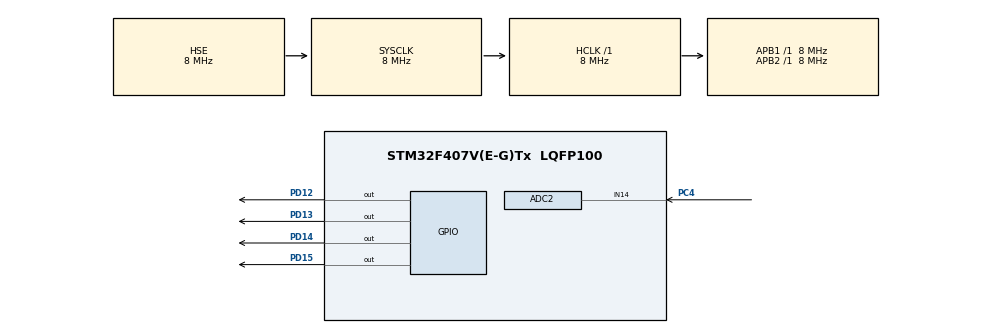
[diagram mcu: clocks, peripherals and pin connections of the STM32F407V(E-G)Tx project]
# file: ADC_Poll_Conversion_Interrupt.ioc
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ADC2.Channel-0\#ChannelRegularConversion=ADC_CHANNEL_14
ADC2.ContinuousConvMode=ENABLE
ADC2.NbrOfConversionFlag=1
ADC2.Rank-0\#ChannelRegularConversion=1
ADC2.SamplingTime-0\#ChannelRegularConversion=ADC_SAMPLETIME_480CYCLES
Mcu.Family=STM32F4
Mcu.Name=STM32F407V(E-G)Tx
Mcu.Package=LQFP100
NVIC.ADC_IRQn=true\:0\:0\:false\:false\:true\:true\:true\:true
NVIC.PriorityGroup=NVIC_PRIORITYGROUP_4
PA13.Mode=Serial_Wire
PA13.Signal=SYS_JTMS-SWDIO
PA14.Mode=Serial_Wire
PA14.Signal=SYS_JTCK-SWCLK
PC4.Signal=ADCx_IN14
PD12.Signal=GPIO_Output
PD13.Signal=GPIO_Output
PD14.Signal=GPIO_Output
PD15.Signal=GPIO_Output
PH0-OSC_IN.Mode=HSE-External-Oscillator
PH0-OSC_IN.Signal=RCC_OSC_IN
PH1-OSC_OUT.Mode=HSE-External-Oscillator
PH1-OSC_OUT.Signal=RCC_OSC_OUT
ProjectManager.HeapSize=0x200
ProjectManager.StackSize=0x400
ProjectManager.TargetToolchain=STM32CubeIDE
RCC.AHBFreq_Value=8000000
RCC.APB1Freq_Value=8000000
RCC.APB1TimFreq_Value=8000000
RCC.APB2Freq_Value=8000000
RCC.APB2TimFreq_Value=8000000
RCC.CortexFreq_Value=8000000
RCC.HCLKFreq_Value=8000000
RCC.HSE_VALUE=8000000
RCC.HSI_VALUE=16000000
RCC.LSE_VALUE=32768
RCC.SYSCLKFreq_VALUE=8000000
RCC.SYSCLKSource=RCC_SYSCLKSOURCE_HSE
RCC.VCOOutputFreq_Value=192000000
SH.ADCx_IN14.0=ADC2_IN14,IN14
board=custom

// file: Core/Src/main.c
/* USER CODE BEGIN Header */
/**
  ******************************************************************************
  * @file           : main.c
  * @brief          : Main program body
  ******************************************************************************
  * @attention
  *
  * Copyright (c) 2024 STMicroelectronics.
  * All rights reserved.
  *
  * This software is licensed under terms that can be found in the LICENSE file
  * in the root directory of this software component.
  * If no LICENSE file comes with this software, it is provided AS-IS.
  *
  ******************************************************************************
  */
/* USER CODE END Header */
#include "main.h"

ADC_HandleTypeDef hadc2;

void SystemClock_Config(void);
static void MX_GPIO_Init(void);
static void MX_ADC2_Init(void);

/* USER CODE BEGIN 0 */
int adc_value = 0;
float adc_voltage = 0;
void HAL_ADC_ConvCpltCallback(ADC_HandleTypeDef *hadc){
	adc_value = HAL_ADC_GetValue(&hadc2);
	adc_voltage = 3.3*adc_value/4095;
	//led kontrol aşaması
	if(adc_value < 1024){
		HAL_GPIO_WritePin(GPIOD, GPIO_PIN_12, GPIO_PIN_SET);	//PD12 yeşil yandı
		HAL_GPIO_WritePin(GPIOD, GPIO_PIN_15, GPIO_PIN_RESET); 	//PD15 mavi söndü
		HAL_GPIO_WritePin(GPIOD, GPIO_PIN_14, GPIO_PIN_RESET); 	//PD14 kırmızı söndü
		HAL_GPIO_WritePin(GPIOD, GPIO_PIN_13, GPIO_PIN_RESET); 	//PD13 turuncu söndü
	}
	if(adc_value > 1024 && adc_value < 2048){
		HAL_GPIO_WritePin(GPIOD, GPIO_PIN_13, GPIO_PIN_SET); 	//PD13 turuncu yandı
		HAL_GPIO_WritePin(GPIOD, GPIO_PIN_12, GPIO_PIN_RESET); 	//PD12 yeşil söndü
		HAL_GPIO_WritePin(GPIOD, GPIO_PIN_15, GPIO_PIN_RESET); 	//PD15 mavi söndü
		HAL_GPIO_WritePin(GPIOD, GPIO_PIN_14, GPIO_PIN_RESET); 	//PD14 kırmızı söndü
	}
	if(adc_value >2048 && adc_value < 3072){
		HAL_GPIO_WritePin(GPIOD, GPIO_PIN_14, GPIO_PIN_SET); 	//PD14 kırmızı yandı
		HAL_GPIO_WritePin(GPIOD, GPIO_PIN_12, GPIO_PIN_RESET); 	//PD12 yeşil söndü
		HAL_GPIO_WritePin(GPIOD, GPIO_PIN_15, GPIO_PIN_RESET); 	//PD15 mavi söndü
		HAL_GPIO_WritePin(GPIOD, GPIO_PIN_13, GPIO_PIN_RESET); 	//PD13 turuncu söndü
	}
	else{
		HAL_GPIO_WritePin(GPIOD, GPIO_PIN_15, GPIO_PIN_SET); 	//PD15 mavi yandı
		HAL_GPIO_WritePin(GPIOD, GPIO_PIN_12, GPIO_PIN_RESET); 	//PD12 yeşil söndü
		HAL_GPIO_WritePin(GPIOD, GPIO_PIN_14, GPIO_PIN_RESET); 	//PD14 kırmızı söndü
		HAL_GPIO_WritePin(GPIOD, GPIO_PIN_13, GPIO_PIN_RESET); 	//PD13 turuncu söndü
	}
}
/* USER CODE END 0 */

int main(void)
{

  /* MCU Configuration--------------------------------------------------------*/

  /* Reset of all peripherals, Initializes the Flash interface and the Systick. */
  HAL_Init();

  /* Configure the system clock */
  SystemClock_Config();

  /* Initialize all configured peripherals */
  MX_GPIO_Init();
  MX_ADC2_Init();
  /* USER CODE BEGIN 2 */
HAL_ADC_Start_IT(&hadc2);
  /* USER CODE END 2 */

  /* Infinite loop */
  while (1)
  {

  }
}

void SystemClock_Config(void)
{
  RCC_OscInitTypeDef RCC_OscInitStruct = {0};
  RCC_ClkInitTypeDef RCC_ClkInitStruct = {0};

  /** Configure the main internal regulator output voltage
  */
  __HAL_RCC_PWR_CLK_ENABLE();
  __HAL_PWR_VOLTAGESCALING_CONFIG(PWR_REGULATOR_VOLTAGE_SCALE1);

  /** Initializes the RCC Oscillators according to the specified parameters
  * in the RCC_OscInitTypeDef structure.
  */
  RCC_OscInitStruct.OscillatorType = RCC_OSCILLATORTYPE_HSE;
  RCC_OscInitStruct.HSEState = RCC_HSE_ON;
  RCC_OscInitStruct.PLL.PLLState = RCC_PLL_NONE;
  if (HAL_RCC_OscConfig(&RCC_OscInitStruct) != HAL_OK)
  {
    Error_Handler();
  }

  /** Initializes the CPU, AHB and APB buses clocks
  */
  RCC_ClkInitStruct.ClockType = RCC_CLOCKTYPE_HCLK|RCC_CLOCKTYPE_SYSCLK
                              |RCC_CLOCKTYPE_PCLK1|RCC_CLOCKTYPE_PCLK2;
  RCC_ClkInitStruct.SYSCLKSource = RCC_SYSCLKSOURCE_HSE;
  RCC_ClkInitStruct.AHBCLKDivider = RCC_SYSCLK_DIV1;
  RCC_ClkInitStruct.APB1CLKDivider = RCC_HCLK_DIV1;
  RCC_ClkInitStruct.APB2CLKDivider = RCC_HCLK_DIV1;

  if (HAL_RCC_ClockConfig(&RCC_ClkInitStruct, FLASH_LATENCY_0) != HAL_OK)
  {
    Error_Handler();
  }
}

static void MX_ADC2_Init(void)
{

  ADC_ChannelConfTypeDef sConfig = {0};

  /** Configure the global features of the ADC (Clock, Resolution, Data Alignment and number of conversion)
  */
  hadc2.Instance = ADC2;
  hadc2.Init.ClockPrescaler = ADC_CLOCK_SYNC_PCLK_DIV2;
  hadc2.Init.Resolution = ADC_RESOLUTION_12B;
  hadc2.Init.ScanConvMode = DISABLE;
  hadc2.Init.ContinuousConvMode = ENABLE;
  hadc2.Init.DiscontinuousConvMode = DISABLE;
  hadc2.Init.ExternalTrigConvEdge = ADC_EXTERNALTRIGCONVEDGE_NONE;
  hadc2.Init.ExternalTrigConv = ADC_SOFTWARE_START;
  hadc2.Init.DataAlign = ADC_DATAALIGN_RIGHT;
  hadc2.Init.NbrOfConversion = 1;
  hadc2.Init.DMAContinuousRequests = DISABLE;
  hadc2.Init.EOCSelection = ADC_EOC_SINGLE_CONV;
  if (HAL_ADC_Init(&hadc2) != HAL_OK)
  {
    Error_Handler();
  }

  /** Configure for the selected ADC regular channel its corresponding rank in the sequencer and its sample time.
  */
  sConfig.Channel = ADC_CHANNEL_14;
  sConfig.Rank = 1;
  sConfig.SamplingTime = ADC_SAMPLETIME_480CYCLES;
  if (HAL_ADC_ConfigChannel(&hadc2, &sConfig) != HAL_OK)
  {
    Error_Handler();
  }

}

static void MX_GPIO_Init(void)
{
  GPIO_InitTypeDef GPIO_InitStruct = {0};

  /* GPIO Ports Clock Enable */
  __HAL_RCC_GPIOH_CLK_ENABLE();
  __HAL_RCC_GPIOC_CLK_ENABLE();
  __HAL_RCC_GPIOD_CLK_ENABLE();
  __HAL_RCC_GPIOA_CLK_ENABLE();

  /*Configure GPIO pin Output Level */
  HAL_GPIO_WritePin(GPIOD, GPIO_PIN_12|GPIO_PIN_13|GPIO_PIN_14|GPIO_PIN_15, GPIO_PIN_RESET);

  /*Configure GPIO pins : PD12 PD13 PD14 PD15 */
  GPIO_InitStruct.Pin = GPIO_PIN_12|GPIO_PIN_13|GPIO_PIN_14|GPIO_PIN_15;
  GPIO_InitStruct.Mode = GPIO_MODE_OUTPUT_PP;
  GPIO_InitStruct.Pull = GPIO_NOPULL;
  GPIO_InitStruct.Speed = GPIO_SPEED_FREQ_LOW;
  HAL_GPIO_Init(GPIOD, &GPIO_InitStruct);

}

void Error_Handler(void)
{
  __disable_irq();
  while (1)
  {
  }
}
